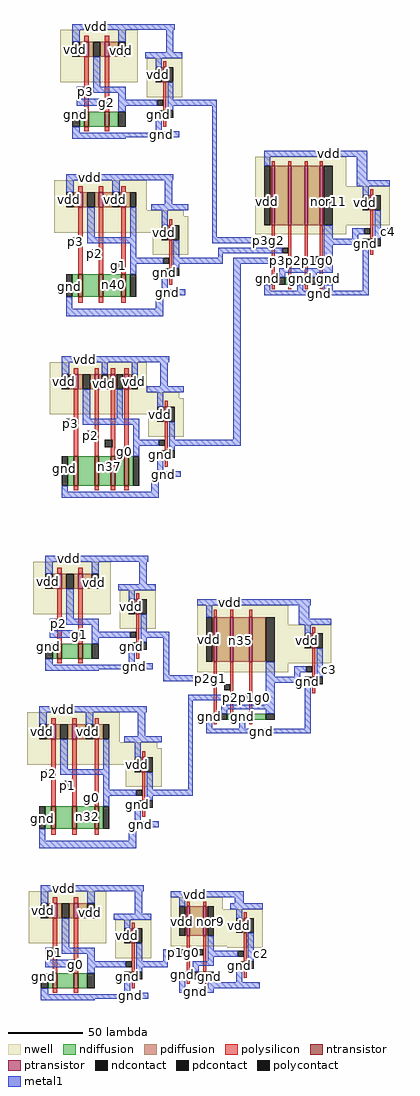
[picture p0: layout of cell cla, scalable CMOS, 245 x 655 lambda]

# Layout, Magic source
magic
tech scmos
<< nwell >>
rect -101 608 -49 643
rect -43 598 -19 624
rect -105 522 -43 542
rect 30 538 91 558
rect -105 518 -18 522
rect -105 507 -15 518
rect -39 492 -15 507
rect 30 512 120 538
rect 30 506 91 512
rect -108 400 -43 420
rect -108 396 -21 400
rect -108 385 -18 396
rect -42 370 -18 385
rect -119 251 -67 286
rect -61 241 -37 267
rect -9 244 52 257
rect -9 218 81 244
rect -9 212 52 218
rect -123 165 -61 185
rect -123 161 -36 165
rect -123 150 -33 161
rect -57 135 -33 150
rect -122 30 -70 65
rect -27 53 8 61
rect -64 20 -40 46
rect -27 28 35 53
rect 11 27 35 28
<< ntransistor >>
rect -85 578 -82 588
rect -71 578 -68 588
rect -32 584 -30 589
rect -89 464 -86 479
rect -75 464 -72 479
rect -60 464 -57 479
rect -28 478 -26 483
rect 107 498 109 503
rect 41 472 43 477
rect 52 472 54 477
rect 63 472 65 477
rect 73 472 75 477
rect -92 337 -89 357
rect -78 337 -75 357
rect -67 337 -64 357
rect -58 337 -55 357
rect -31 356 -29 361
rect -103 221 -100 231
rect -89 221 -86 231
rect -50 227 -48 232
rect 68 204 70 209
rect 2 180 4 184
rect 13 180 15 184
rect 26 180 28 184
rect -107 107 -104 122
rect -93 107 -90 122
rect -78 107 -75 122
rect -46 121 -44 126
rect 22 13 24 18
rect -106 0 -103 10
rect -92 0 -89 10
rect -53 6 -51 11
rect -16 6 -14 11
rect -5 6 -3 11
<< ptransistor >>
rect -85 625 -82 635
rect -71 625 -68 635
rect -32 608 -30 618
rect -89 524 -86 534
rect -75 524 -72 534
rect -60 524 -57 534
rect 41 512 43 552
rect 52 512 54 552
rect 63 512 65 552
rect 73 512 75 552
rect 107 522 109 532
rect -28 502 -26 512
rect -92 402 -89 412
rect -78 402 -75 412
rect -67 402 -64 412
rect -58 402 -55 412
rect -31 380 -29 390
rect -103 268 -100 278
rect -89 268 -86 278
rect -50 251 -48 261
rect 2 219 4 249
rect 13 219 15 249
rect 26 219 28 249
rect 68 228 70 238
rect -107 167 -104 177
rect -93 167 -90 177
rect -78 167 -75 177
rect -46 145 -44 155
rect -106 47 -103 57
rect -92 47 -89 57
rect -53 30 -51 40
rect -16 35 -14 55
rect -5 35 -3 55
rect 22 37 24 47
<< ndiffusion >>
rect -88 578 -85 588
rect -82 578 -71 588
rect -68 578 -62 588
rect -33 584 -32 589
rect -30 584 -29 589
rect -93 464 -89 479
rect -86 464 -75 479
rect -72 464 -60 479
rect -57 464 -54 479
rect -29 478 -28 483
rect -26 478 -25 483
rect 106 498 107 503
rect 109 498 110 503
rect 40 472 41 477
rect 43 472 46 477
rect 50 472 52 477
rect 54 472 58 477
rect 62 472 63 477
rect 65 472 67 477
rect 71 472 73 477
rect 75 472 76 477
rect -96 337 -92 357
rect -89 337 -78 357
rect -75 337 -67 357
rect -64 337 -58 357
rect -55 337 -52 357
rect -32 356 -31 361
rect -29 356 -28 361
rect -106 221 -103 231
rect -100 221 -89 231
rect -86 221 -80 231
rect -51 227 -50 232
rect -48 227 -47 232
rect 67 204 68 209
rect 70 204 71 209
rect 1 180 2 184
rect 4 180 7 184
rect 11 180 13 184
rect 15 180 19 184
rect 23 180 26 184
rect 28 180 37 184
rect -111 107 -107 122
rect -104 107 -93 122
rect -90 107 -78 122
rect -75 107 -72 122
rect -47 121 -46 126
rect -44 121 -43 126
rect 21 13 22 18
rect 24 13 25 18
rect -109 0 -106 10
rect -103 0 -92 10
rect -89 0 -83 10
rect -54 6 -53 11
rect -51 6 -50 11
rect -17 6 -16 11
rect -14 6 -12 11
rect -8 6 -5 11
rect -3 6 -2 11
<< pdiffusion >>
rect -88 625 -85 635
rect -82 625 -79 635
rect -74 625 -71 635
rect -68 625 -62 635
rect -33 608 -32 618
rect -30 608 -29 618
rect -92 524 -89 534
rect -86 524 -83 534
rect -78 524 -75 534
rect -72 524 -66 534
rect -61 524 -60 534
rect -57 524 -54 534
rect 40 512 41 552
rect 43 512 52 552
rect 54 512 63 552
rect 65 512 73 552
rect 75 512 76 552
rect 106 522 107 532
rect 109 522 110 532
rect -29 502 -28 512
rect -26 502 -25 512
rect -95 402 -92 412
rect -89 402 -86 412
rect -81 402 -78 412
rect -75 402 -73 412
rect -69 402 -67 412
rect -64 402 -63 412
rect -59 402 -58 412
rect -55 402 -53 412
rect -32 380 -31 390
rect -29 380 -28 390
rect -106 268 -103 278
rect -100 268 -97 278
rect -92 268 -89 278
rect -86 268 -80 278
rect -51 251 -50 261
rect -48 251 -47 261
rect 1 219 2 249
rect 4 219 13 249
rect 15 219 26 249
rect 28 219 37 249
rect 67 228 68 238
rect 70 228 71 238
rect -110 167 -107 177
rect -104 167 -101 177
rect -96 167 -93 177
rect -90 167 -84 177
rect -79 167 -78 177
rect -75 167 -72 177
rect -47 145 -46 155
rect -44 145 -43 155
rect -109 47 -106 57
rect -103 47 -100 57
rect -95 47 -92 57
rect -89 47 -83 57
rect -54 30 -53 40
rect -51 30 -50 40
rect -17 35 -16 55
rect -14 35 -5 55
rect -3 35 -2 55
rect 21 37 22 47
rect 24 37 25 47
<< ndcontact >>
rect -93 578 -88 588
rect -62 578 -57 588
rect -37 584 -33 589
rect -29 584 -25 589
rect -97 464 -93 479
rect -54 464 -50 479
rect -33 478 -29 483
rect -25 478 -21 483
rect 102 498 106 503
rect 110 498 114 503
rect 36 472 40 477
rect 46 472 50 477
rect 58 472 62 477
rect 67 472 71 477
rect 76 472 82 477
rect -100 337 -96 357
rect -52 337 -48 357
rect -36 356 -32 361
rect -28 356 -24 361
rect -111 221 -106 231
rect -80 221 -75 231
rect -55 227 -51 232
rect -47 227 -43 232
rect 63 204 67 209
rect 71 204 75 209
rect -3 180 1 184
rect 7 180 11 184
rect 19 180 23 184
rect 37 180 43 184
rect -115 107 -111 122
rect -72 107 -68 122
rect -51 121 -47 126
rect -43 121 -39 126
rect 17 13 21 18
rect 25 13 29 18
rect -114 0 -109 10
rect -83 0 -78 10
rect -58 6 -54 11
rect -50 6 -46 11
rect -21 6 -17 11
rect -12 6 -8 11
rect -2 6 2 11
<< pdcontact >>
rect -93 625 -88 635
rect -79 625 -74 635
rect -62 625 -57 635
rect -37 608 -33 618
rect -29 608 -25 618
rect -97 524 -92 534
rect -83 524 -78 534
rect -66 524 -61 534
rect -54 524 -50 534
rect 36 512 40 552
rect 76 512 82 552
rect 102 522 106 532
rect 110 522 114 532
rect -33 502 -29 512
rect -25 502 -21 512
rect -100 402 -95 412
rect -86 402 -81 412
rect -73 402 -69 412
rect -63 402 -59 412
rect -53 402 -49 412
rect -36 380 -32 390
rect -28 380 -24 390
rect -111 268 -106 278
rect -97 268 -92 278
rect -80 268 -75 278
rect -55 251 -51 261
rect -47 251 -43 261
rect -3 219 1 249
rect 37 219 43 249
rect 63 228 67 238
rect 71 228 75 238
rect -115 167 -110 177
rect -101 167 -96 177
rect -84 167 -79 177
rect -72 167 -68 177
rect -51 145 -47 155
rect -43 145 -39 155
rect -114 47 -109 57
rect -100 47 -95 57
rect -83 47 -78 57
rect -58 30 -54 40
rect -50 30 -46 40
rect -21 35 -17 55
rect -2 35 2 55
rect 17 37 21 47
rect 25 37 29 47
<< polysilicon >>
rect -85 635 -82 639
rect -71 635 -68 639
rect -85 605 -82 625
rect -85 588 -82 600
rect -71 597 -68 625
rect -32 618 -30 622
rect -71 588 -68 592
rect -32 589 -30 608
rect -32 578 -30 584
rect -85 575 -82 578
rect -71 575 -68 578
rect 41 552 43 555
rect 52 552 54 555
rect 63 552 65 555
rect 73 552 75 555
rect -89 534 -86 538
rect -75 534 -72 538
rect -60 534 -57 538
rect -89 479 -86 524
rect -75 479 -72 524
rect -60 479 -57 524
rect -28 512 -26 516
rect 107 532 109 536
rect -28 483 -26 502
rect -28 472 -26 478
rect 41 477 43 512
rect 52 477 54 512
rect 63 477 65 512
rect 73 477 75 512
rect 107 503 109 522
rect 107 492 109 498
rect 41 469 43 472
rect 52 469 54 472
rect 63 469 65 472
rect 73 469 75 472
rect -89 460 -86 464
rect -75 460 -72 464
rect -60 460 -57 464
rect -92 412 -89 416
rect -78 412 -75 416
rect -67 412 -64 416
rect -58 412 -55 416
rect -92 357 -89 402
rect -78 357 -75 402
rect -67 368 -64 402
rect -66 363 -64 368
rect -58 363 -55 402
rect -31 390 -29 394
rect -67 357 -64 363
rect -31 361 -29 380
rect -58 357 -55 358
rect -31 350 -29 356
rect -92 334 -89 337
rect -78 334 -75 337
rect -67 334 -64 337
rect -58 334 -55 337
rect -103 278 -100 282
rect -89 278 -86 282
rect -103 248 -100 268
rect -103 231 -100 243
rect -89 240 -86 268
rect -50 261 -48 265
rect -89 231 -86 235
rect -50 232 -48 251
rect 2 249 4 254
rect 13 249 15 254
rect 26 249 28 254
rect -50 221 -48 227
rect -103 218 -100 221
rect -89 218 -86 221
rect 68 238 70 242
rect 2 184 4 219
rect 13 184 15 219
rect 26 184 28 219
rect 68 209 70 228
rect 68 198 70 204
rect -107 177 -104 181
rect -93 177 -90 181
rect -78 177 -75 181
rect 2 177 4 180
rect 13 177 15 180
rect 26 177 28 180
rect -107 122 -104 167
rect -93 122 -90 167
rect -78 122 -75 167
rect -46 155 -44 159
rect -46 126 -44 145
rect -46 115 -44 121
rect -107 103 -104 107
rect -93 103 -90 107
rect -78 103 -75 107
rect -106 57 -103 61
rect -92 57 -89 61
rect -16 55 -14 58
rect -5 55 -3 58
rect -106 27 -103 47
rect -106 10 -103 22
rect -92 19 -89 47
rect -53 40 -51 44
rect 22 47 24 51
rect -92 10 -89 14
rect -53 11 -51 30
rect -16 11 -14 35
rect -5 11 -3 35
rect 22 18 24 37
rect 22 7 24 13
rect -53 0 -51 6
rect -16 3 -14 6
rect -5 3 -3 6
rect -106 -3 -103 0
rect -92 -3 -89 0
<< polycontact >>
rect -87 600 -82 605
rect -73 592 -68 597
rect -36 592 -32 596
rect -94 499 -89 504
rect -80 491 -75 496
rect -65 482 -60 487
rect -32 486 -28 490
rect 37 500 41 504
rect 48 493 52 497
rect 59 486 63 490
rect 69 487 73 491
rect 103 506 107 510
rect -97 377 -92 382
rect -83 369 -78 374
rect -71 363 -66 368
rect -35 364 -31 368
rect -60 358 -55 363
rect -105 243 -100 248
rect -91 235 -86 240
rect -54 235 -50 239
rect -2 206 2 210
rect 9 200 13 204
rect 22 193 26 197
rect 64 212 68 216
rect -112 142 -107 147
rect -98 134 -93 139
rect -83 125 -78 130
rect -50 129 -46 133
rect -108 22 -103 27
rect -94 14 -89 19
rect -57 14 -53 18
rect -20 22 -16 26
rect -9 22 -5 26
rect 18 21 22 25
<< metal1 >>
rect -93 643 -24 647
rect -93 635 -88 643
rect -62 635 -57 643
rect -30 628 -25 643
rect -79 605 -74 625
rect -44 624 -19 628
rect -37 618 -33 624
rect -90 600 -87 605
rect -79 601 -57 605
rect -90 592 -73 597
rect -62 596 -57 601
rect -29 596 -25 608
rect -62 592 -36 596
rect -29 592 4 596
rect -62 588 -57 592
rect -29 589 -25 592
rect -93 574 -88 578
rect -37 575 -33 584
rect -41 574 -21 575
rect -93 571 -21 574
rect -93 570 -57 571
rect -97 542 -25 546
rect -97 534 -92 542
rect -66 534 -61 542
rect -31 526 -26 542
rect -83 504 -78 524
rect -54 504 -50 524
rect -40 522 -15 526
rect -83 500 -50 504
rect -33 512 -29 522
rect -54 490 -50 500
rect -25 490 -21 502
rect 1 504 4 592
rect 36 558 105 562
rect 36 552 40 558
rect 98 542 105 558
rect 98 538 120 542
rect 102 532 106 538
rect 1 500 37 504
rect 76 503 82 512
rect 110 510 114 522
rect 95 506 103 510
rect 110 506 122 510
rect 95 503 99 506
rect 110 503 114 506
rect 76 499 99 503
rect 5 493 48 497
rect 5 490 8 493
rect -54 486 -32 490
rect -25 486 8 490
rect 15 486 59 490
rect -54 479 -50 486
rect -25 483 -21 486
rect -33 469 -29 478
rect -37 465 -17 469
rect -97 456 -93 464
rect -37 456 -32 465
rect -97 451 -32 456
rect -100 420 -28 424
rect -100 412 -95 420
rect -73 412 -69 420
rect -53 412 -49 420
rect -34 404 -29 420
rect -86 382 -81 402
rect -63 382 -59 402
rect -43 400 -18 404
rect -36 390 -32 400
rect -86 378 -48 382
rect -52 368 -48 378
rect -28 368 -24 380
rect 15 368 20 486
rect 76 483 82 499
rect 46 480 82 483
rect 46 477 50 480
rect 67 477 71 480
rect 36 468 40 472
rect 58 468 62 472
rect 76 468 82 472
rect 102 468 106 498
rect 36 465 106 468
rect -52 364 -35 368
rect -28 364 20 368
rect -52 357 -48 364
rect -28 361 -24 364
rect -36 347 -32 356
rect -40 343 -20 347
rect -100 333 -96 337
rect -40 333 -35 343
rect -100 329 -35 333
rect -111 286 -42 290
rect -111 278 -106 286
rect -80 278 -75 286
rect -48 271 -43 286
rect -97 248 -92 268
rect -62 267 -37 271
rect -55 261 -51 267
rect -9 257 67 261
rect -108 243 -105 248
rect -97 244 -75 248
rect -108 235 -91 240
rect -80 239 -75 244
rect -47 239 -43 251
rect -3 249 1 257
rect -80 235 -54 239
rect -47 235 -28 239
rect -80 231 -75 235
rect -47 232 -43 235
rect -111 217 -106 221
rect -55 218 -51 227
rect -59 217 -39 218
rect -111 214 -39 217
rect -111 213 -75 214
rect -32 210 -28 235
rect 59 248 66 257
rect 59 244 81 248
rect 63 238 67 244
rect -32 206 -2 210
rect 37 209 43 219
rect 71 216 75 228
rect 56 212 64 216
rect 71 212 83 216
rect 56 209 60 212
rect 71 209 75 212
rect 37 205 60 209
rect -15 193 22 197
rect -115 185 -43 189
rect -115 177 -110 185
rect -84 177 -79 185
rect -49 169 -44 185
rect -101 147 -96 167
rect -72 147 -68 167
rect -58 165 -33 169
rect -101 143 -68 147
rect -51 155 -47 165
rect -72 133 -68 143
rect -43 133 -39 145
rect -15 133 -12 193
rect 37 190 43 205
rect 7 187 43 190
rect 7 184 11 187
rect 37 184 43 187
rect -3 174 1 180
rect 19 174 23 180
rect 63 174 67 204
rect -3 171 67 174
rect -72 129 -50 133
rect -43 129 -12 133
rect -72 122 -68 129
rect -43 126 -39 129
rect -51 112 -47 121
rect -55 108 -35 112
rect -115 99 -111 107
rect -55 99 -50 108
rect -115 94 -50 99
rect -114 65 -45 69
rect -114 57 -109 65
rect -83 57 -78 65
rect -51 50 -46 65
rect -27 61 22 65
rect -21 55 -17 61
rect 16 57 22 61
rect -100 27 -95 47
rect -65 46 -40 50
rect -58 40 -54 46
rect 13 53 35 57
rect 17 47 21 53
rect -111 22 -108 27
rect -100 23 -78 27
rect -111 14 -94 19
rect -83 18 -78 23
rect -50 18 -46 30
rect -32 22 -20 26
rect -2 25 2 35
rect 25 25 29 37
rect -32 18 -29 22
rect -2 21 18 25
rect 25 21 37 25
rect -2 18 2 21
rect 25 18 29 21
rect -83 14 -57 18
rect -50 14 -29 18
rect -12 15 2 18
rect -83 10 -78 14
rect -50 11 -46 14
rect -12 11 -8 15
rect -114 -4 -109 0
rect -58 -3 -54 6
rect -21 0 -17 6
rect -2 4 2 6
rect 17 4 21 13
rect -2 0 33 4
rect -21 -3 2 0
rect -62 -4 -42 -3
rect -114 -7 -42 -4
rect -114 -8 -78 -7
<< labels >>
rlabel pdcontact -56 35 -56 35 1 vdd
rlabel ndcontact -56 8 -56 8 1 gnd
rlabel metal1 -54 -5 -54 -5 1 gnd
rlabel metal1 -98 67 -98 67 5 vdd
rlabel ndcontact -112 8 -112 8 1 gnd
rlabel pdcontact -112 52 -112 52 1 vdd
rlabel pdcontact -81 51 -81 51 1 vdd
rlabel polycontact -105 24 -105 24 1 p1
rlabel polycontact -91 16 -91 16 1 g0
rlabel ndiffusion -98 5 -98 5 1 n29
rlabel metal1 -41 16 -41 16 7 p1g0
rlabel ndcontact -48 8 -48 8 1 p1g0
rlabel pdcontact -48 35 -48 35 1 p1g0
rlabel polycontact -55 16 -55 16 1 nand17
rlabel ndcontact -81 5 -81 5 1 nand17
rlabel pdcontact -98 52 -98 52 1 nand17
rlabel pdcontact 19 42 19 42 1 vdd
rlabel ndcontact 19 15 19 15 1 gnd
rlabel metal1 -10 -2 -10 -2 1 gnd
rlabel metal1 -10 63 -10 63 5 vdd
rlabel pdcontact -19 45 -19 45 1 vdd
rlabel ndcontact -1 8 -1 8 1 gnd
rlabel ndcontact -19 9 -19 9 1 gnd
rlabel polycontact 20 23 20 23 1 nor9
rlabel pdcontact 0 45 0 45 1 nor9
rlabel ndcontact -10 8 -10 8 1 nor9
rlabel pdiffusion -10 46 -10 46 1 n30
rlabel polycontact -18 24 -18 24 1 p1g0
rlabel polycontact -7 24 -7 24 1 g1
rlabel metal1 34 23 34 23 7 c2
rlabel ndcontact 27 15 27 15 1 c2
rlabel pdcontact 27 42 27 42 1 c2
rlabel metal1 -99 187 -99 187 5 vdd
rlabel pdcontact -113 172 -113 172 1 vdd
rlabel pdcontact -82 172 -82 172 1 vdd
rlabel ndcontact -113 114 -113 114 1 gnd
rlabel pdcontact -49 150 -49 150 1 vdd
rlabel ndcontact -49 123 -49 123 1 gnd
rlabel metal1 -47 110 -47 110 1 gnd
rlabel pdcontact -53 256 -53 256 1 vdd
rlabel ndcontact -53 229 -53 229 1 gnd
rlabel metal1 -51 216 -51 216 1 gnd
rlabel metal1 -95 288 -95 288 5 vdd
rlabel ndcontact -109 229 -109 229 1 gnd
rlabel pdcontact -109 273 -109 273 1 vdd
rlabel pdcontact -78 272 -78 272 1 vdd
rlabel metal1 13 259 13 259 5 vdd
rlabel pdcontact -1 234 -1 234 1 vdd
rlabel pdcontact 65 233 65 233 1 vdd
rlabel ndcontact 65 206 65 206 1 gnd
rlabel ndcontact -1 182 -1 182 1 gnd
rlabel ndcontact 21 182 21 182 1 gnd
rlabel metal1 34 172 34 172 1 gnd
rlabel metal1 -84 422 -84 422 5 vdd
rlabel pdcontact -98 407 -98 407 1 vdd
rlabel ndcontact -98 349 -98 349 1 gnd
rlabel pdcontact -34 385 -34 385 1 vdd
rlabel ndcontact -34 358 -34 358 1 gnd
rlabel metal1 -32 345 -32 345 1 gnd
rlabel pdcontact -71 406 -71 406 1 vdd
rlabel pdcontact -51 407 -51 407 1 vdd
rlabel metal1 -81 544 -81 544 5 vdd
rlabel pdcontact -95 529 -95 529 1 vdd
rlabel pdcontact -64 529 -64 529 1 vdd
rlabel ndcontact -95 471 -95 471 1 gnd
rlabel pdcontact -31 507 -31 507 1 vdd
rlabel ndcontact -31 480 -31 480 1 gnd
rlabel metal1 -29 467 -29 467 1 gnd
rlabel pdcontact -35 613 -35 613 1 vdd
rlabel ndcontact -35 586 -35 586 1 gnd
rlabel metal1 -33 573 -33 573 1 gnd
rlabel metal1 -77 645 -77 645 5 vdd
rlabel ndcontact -91 586 -91 586 1 gnd
rlabel pdcontact -91 630 -91 630 1 vdd
rlabel pdcontact -60 629 -60 629 1 vdd
rlabel pdcontact 38 528 38 528 1 vdd
rlabel pdcontact 104 527 104 527 1 vdd
rlabel ndcontact 104 500 104 500 1 gnd
rlabel ndcontact 38 476 38 476 1 gnd
rlabel ndcontact 60 476 60 476 1 gnd
rlabel metal1 73 466 73 466 1 gnd
rlabel ndcontact 79 476 79 476 1 gnd
rlabel metal1 80 560 80 560 5 vdd
rlabel polycontact -109 144 -109 144 1 p2
rlabel polycontact -96 136 -96 136 1 p1
rlabel polycontact -80 128 -80 128 1 g0
rlabel ndiffusion -98 115 -98 115 1 n31
rlabel ndiffusion -83 115 -83 115 1 n32
rlabel ndcontact -70 114 -70 114 1 nand18
rlabel polycontact -48 131 -48 131 1 nand18
rlabel pdcontact -70 172 -70 172 1 nand18
rlabel pdcontact -99 171 -99 171 1 nand18
rlabel metal1 -34 131 -34 131 1 p2p1g0
rlabel pdcontact -41 150 -41 150 1 p2p1g0
rlabel ndcontact -41 123 -41 123 1 p2p1g0
rlabel polycontact -102 245 -102 245 1 p2
rlabel polycontact -88 237 -88 237 1 g1
rlabel ndiffusion -95 226 -95 226 1 n33
rlabel polycontact -52 237 -52 237 1 nand19
rlabel ndcontact -78 226 -78 226 1 nand19
rlabel pdcontact -95 273 -95 273 1 nand19
rlabel metal1 -39 237 -39 237 1 p2g1
rlabel pdcontact -45 256 -45 256 1 p2g1
rlabel ndcontact -45 229 -45 229 1 p2g1
rlabel polycontact 0 208 0 208 1 p2g1
rlabel polycontact 24 195 24 195 1 p2p1g0
rlabel polycontact 11 202 11 202 1 g2
rlabel metal1 80 214 80 214 1 c3
rlabel pdcontact 73 233 73 233 1 c3
rlabel ndcontact 73 206 73 206 1 c3
rlabel pdiffusion 8 234 8 234 1 n34
rlabel pdiffusion 20 233 20 233 1 n35
rlabel polycontact 66 214 66 214 1 nor10
rlabel pdcontact 40 234 40 234 1 nor10
rlabel ndcontact 40 182 40 182 1 nor10
rlabel polycontact 105 508 105 508 1 nor11
rlabel pdcontact 79 528 79 528 1 nor11
rlabel ndcontact 9 182 9 182 1 nor10
rlabel ndcontact 69 476 69 476 1 nor11
rlabel ndcontact 48 476 48 476 1 nor11
rlabel metal1 119 508 119 508 7 c4
rlabel ndcontact 112 500 112 500 1 c4
rlabel pdcontact 112 527 112 527 1 c4
rlabel ndiffusion -83 350 -83 350 1 n36
rlabel ndiffusion -68 350 -68 350 1 n37
rlabel ndiffusion -61 349 -61 349 1 n38
rlabel ndiffusion -80 472 -80 472 1 n39
rlabel ndiffusion -65 472 -65 472 1 n40
rlabel ndiffusion -77 583 -77 583 1 n41
rlabel pdiffusion 47 528 47 528 1 n42
rlabel pdiffusion 59 527 59 527 1 n43
rlabel pdiffusion 69 528 69 528 1 n44
rlabel polycontact -33 366 -33 366 1 nand20
rlabel ndcontact -50 346 -50 346 1 nand20
rlabel pdcontact -61 407 -61 407 1 nand20
rlabel pdcontact -84 406 -84 406 1 nand20
rlabel ndcontact -52 471 -52 471 1 nand21
rlabel pdcontact -52 529 -52 529 1 nand21
rlabel pdcontact -81 528 -81 528 1 nand21
rlabel polycontact -30 488 -30 488 1 nand21
rlabel polycontact -34 594 -34 594 1 nand22
rlabel ndcontact -60 583 -60 583 1 nand22
rlabel pdcontact -77 630 -77 630 1 nand22
rlabel polycontact -84 602 -84 602 1 p3
rlabel polycontact -70 594 -70 594 1 g2
rlabel metal1 -20 594 -20 594 1 p3g2
rlabel pdcontact -27 613 -27 613 1 p3g2
rlabel ndcontact -27 586 -27 586 1 p3g2
rlabel polycontact -91 501 -91 501 1 p3
rlabel polycontact -78 493 -78 493 1 p2
rlabel polycontact -62 485 -62 485 1 g1
rlabel metal1 -16 488 -16 488 1 p3p2g1
rlabel ndcontact -23 480 -23 480 1 p3p2g1
rlabel pdcontact -23 507 -23 507 1 p3p2g1
rlabel polycontact -94 379 -94 379 1 p3
rlabel polycontact -81 371 -81 371 1 p2
rlabel polycontact -69 365 -69 365 1 p1
rlabel polycontact -58 360 -58 360 1 g0
rlabel metal1 -19 366 -19 366 1 p3p2p1g0
rlabel ndcontact -26 358 -26 358 1 p3p2p1g0
rlabel pdcontact -26 385 -26 385 1 p3p2p1g0
rlabel polycontact 39 502 39 502 1 p3g2
rlabel polycontact 50 495 50 495 1 p3p2g1
rlabel polycontact 61 488 61 488 1 p3p2p1g0
rlabel polycontact 71 489 71 489 1 g3
<< end >>
